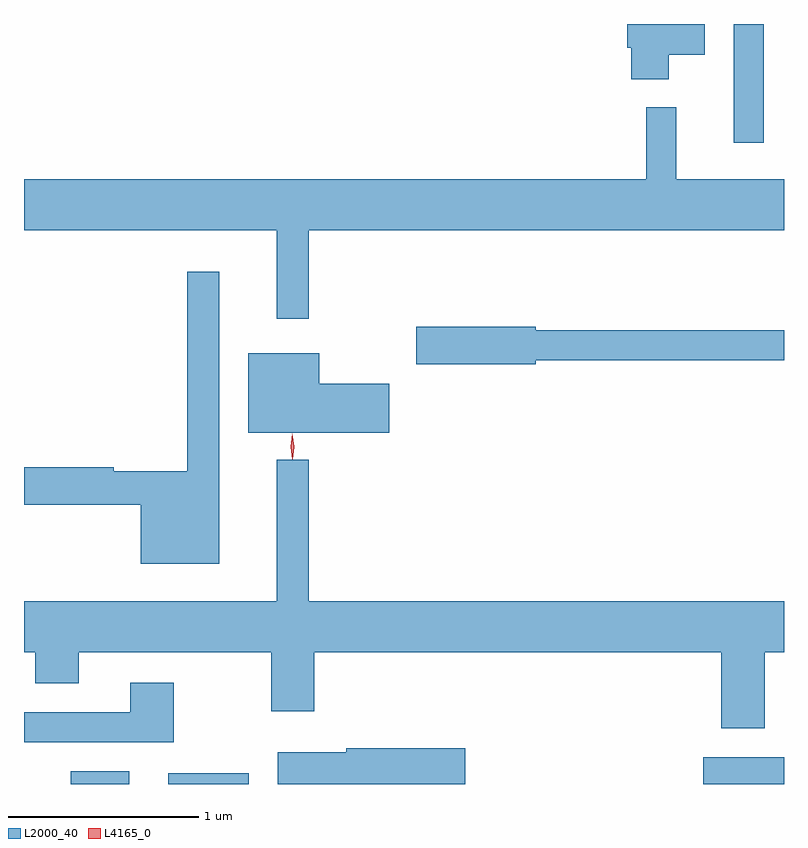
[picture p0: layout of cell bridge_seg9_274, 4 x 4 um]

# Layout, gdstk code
import gdstk
lib = gdstk.Library(unit=1e-6, precision=1e-09)
def R(c, l, rs):  # rectangles x0, y0, x1, y1
    for r in rs: c.add(gdstk.rectangle(r[:2], r[2:], *l))
def P(c, l, *ps):  # polygons
    for p in ps: c.add(gdstk.Polygon(p, *l))
L2000_40 = (2000, 40)
L4165_0 = (4165, 0)

bridge_seg9_274 = lib.new_cell('bridge_seg9_274')
R(bridge_seg9_274, L2000_40, [(1016.716,2051.062,1017.024,2051.129), (1017.231,2051.062,1017.654,2051.119), (1020.046,2051.062,1020.471,2051.204), (1020.206,2054.438,1020.364,2055.062)])
P(bridge_seg9_274, L2000_40, [(1019.864,2054.901),(1020.054,2054.901),(1020.054,2055.062),(1019.646,2055.062),(1019.646,2054.936),(1019.666,2054.936),(1019.666,2054.771),(1019.864,2054.771)],
  [(1017.969,2053.976),(1020.471,2053.976),(1020.471,2054.244),(1019.904,2054.244),(1019.904,2054.623),(1019.746,2054.623),(1019.746,2054.244),(1016.471,2054.244),(1016.471,2053.976),(1017.801,2053.976),(1017.801,2053.512),(1017.969,2053.512)],
  [(1017.499,2053.758),(1017.331,2053.758),(1017.331,2052.709),(1016.944,2052.709),(1016.944,2052.729),(1016.471,2052.729),(1016.471,2052.531),(1017.086,2052.531),(1017.086,2052.221),(1017.499,2052.221)],
  [(1019.164,2053.291),(1020.471,2053.291),(1020.471,2053.449),(1019.164,2053.449),(1019.164,2053.469),(1018.536,2053.469),(1018.536,2053.271),(1019.164,2053.271)],
  [(1018.394,2053.169),(1018.024,2053.169),(1018.024,2053.329),(1017.651,2053.329),(1017.651,2052.911),(1018.394,2052.911)],
  [(1020.369,2051.756),(1020.471,2051.756),(1020.471,2052.024),(1017.969,2052.024),(1017.969,2052.768),(1017.801,2052.768),(1017.801,2052.024),(1016.471,2052.024),(1016.471,2051.756),(1016.531,2051.756),(1016.531,2051.591),(1016.759,2051.591),(1016.759,2051.756),(1017.771,2051.756),(1017.771,2051.446),(1017.999,2051.446),(1017.999,2051.756),(1020.141,2051.756),(1020.141,2051.356),(1020.369,2051.356)],
  [(1017.259,2051.594),(1017.031,2051.594),(1017.031,2051.439),(1016.471,2051.439),(1016.471,2051.281),(1017.259,2051.281)],
  [(1018.794,2051.249),(1018.166,2051.249),(1018.166,2051.229),(1017.806,2051.229),(1017.806,2051.062),(1018.794,2051.062)])
P(bridge_seg9_274, L4165_0, [(1017.884,2052.77),(1017.874,2052.838),(1017.883,2052.905),(1017.884,2052.906),(1017.884,2052.905),(1017.894,2052.838),(1017.885,2052.77),(1017.885,2052.77)],
  [(1017.884,2052.773),(1017.883,2052.774),(1017.874,2052.836),(1017.883,2052.899),(1017.884,2052.9),(1017.884,2052.899),(1017.894,2052.836),(1017.884,2052.774)])

lib.write_gds('bridge_seg9_274.gds')
